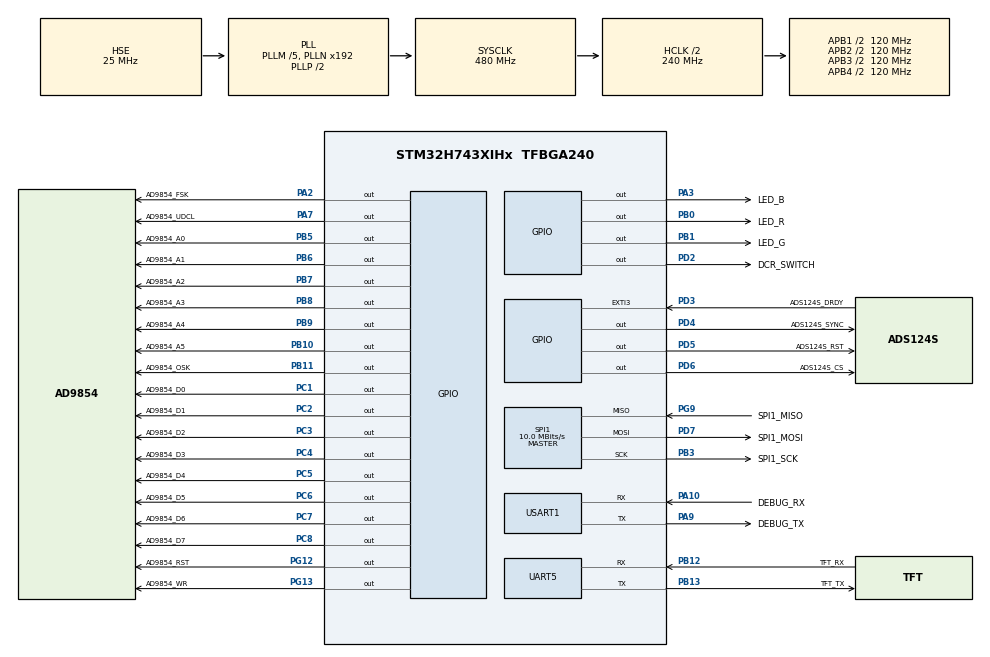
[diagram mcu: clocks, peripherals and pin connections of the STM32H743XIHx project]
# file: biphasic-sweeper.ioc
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Mcu.Family=STM32H7
Mcu.Name=STM32H743XIHx
Mcu.Package=TFBGA240
NVIC.EXTI3_IRQn=true\:0\:0\:false\:false\:true\:true\:true
NVIC.PriorityGroup=NVIC_PRIORITYGROUP_4
NVIC.UART5_IRQn=true\:0\:0\:false\:false\:true\:true\:true
NVIC.USART1_IRQn=true\:3\:0\:true\:false\:true\:true\:true
PA10.GPIO_Label=DEBUG_RX
PA10.Mode=Asynchronous
PA10.Signal=USART1_RX
PA2.GPIO_Label=AD9854_FSK
PA2.GPIO_Speed=GPIO_SPEED_FREQ_LOW
PA2.Signal=GPIO_Output
PA3.GPIO_Label=LED_B
PA3.GPIO_ModeDefaultOutputPP=GPIO_MODE_OUTPUT_OD
PA3.GPIO_PuPd=GPIO_PULLUP
PA3.PinState=GPIO_PIN_SET
PA3.Signal=GPIO_Output
PA7.GPIO_Label=AD9854_UDCL
PA7.GPIO_PuPd=GPIO_PULLDOWN
PA7.GPIO_Speed=GPIO_SPEED_FREQ_LOW
PA7.Signal=GPIO_Output
PA9.GPIO_Label=DEBUG_TX
PA9.Mode=Asynchronous
PA9.Signal=USART1_TX
PB0.GPIO_Label=LED_R
PB0.GPIO_ModeDefaultOutputPP=GPIO_MODE_OUTPUT_OD
PB0.GPIO_PuPd=GPIO_PULLUP
PB0.PinState=GPIO_PIN_SET
PB0.Signal=GPIO_Output
PB1.GPIO_Label=LED_G
PB1.GPIO_ModeDefaultOutputPP=GPIO_MODE_OUTPUT_OD
PB1.GPIO_PuPd=GPIO_PULLUP
PB1.PinState=GPIO_PIN_SET
PB1.Signal=GPIO_Output
PB10.GPIO_Label=AD9854_A5
PB10.GPIO_Speed=GPIO_SPEED_FREQ_LOW
PB10.Signal=GPIO_Output
PB11.GPIO_Label=AD9854_OSK
PB11.GPIO_Speed=GPIO_SPEED_FREQ_LOW
PB11.Signal=GPIO_Output
PB12.GPIO_Label=TFT_RX
PB12.Mode=Asynchronous
PB12.Signal=UART5_RX
PB13.GPIO_Label=TFT_TX
PB13.Mode=Asynchronous
PB13.Signal=UART5_TX
PB3\ (JTDO/TRACESWO).GPIO_Label=SPI1_SCK
PB3\ (JTDO/TRACESWO).GPIO_Speed=GPIO_SPEED_FREQ_HIGH
PB3\ (JTDO/TRACESWO).Mode=Full_Duplex_Master
PB3\ (JTDO/TRACESWO).Signal=SPI1_SCK
PB5.GPIO_Label=AD9854_A0
PB5.GPIO_Speed=GPIO_SPEED_FREQ_LOW
PB5.Signal=GPIO_Output
PB6.GPIO_Label=AD9854_A1
PB6.GPIO_Speed=GPIO_SPEED_FREQ_LOW
PB6.Signal=GPIO_Output
PB7.GPIO_Label=AD9854_A2
PB7.GPIO_Speed=GPIO_SPEED_FREQ_LOW
PB7.Signal=GPIO_Output
PB8.GPIO_Label=AD9854_A3
PB8.GPIO_Speed=GPIO_SPEED_FREQ_LOW
PB8.Signal=GPIO_Output
PB9.GPIO_Label=AD9854_A4
PB9.GPIO_Speed=GPIO_SPEED_FREQ_LOW
PB9.Signal=GPIO_Output
PC1.GPIO_Label=AD9854_D0
PC1.GPIO_Speed=GPIO_SPEED_FREQ_LOW
PC1.Signal=GPIO_Output
PC2.GPIO_Label=AD9854_D1
PC2.GPIO_Speed=GPIO_SPEED_FREQ_LOW
PC2.Signal=GPIO_Output
PC3.GPIO_Label=AD9854_D2
PC3.GPIO_Speed=GPIO_SPEED_FREQ_LOW
PC3.Signal=GPIO_Output
PC4.GPIO_Label=AD9854_D3
PC4.GPIO_Speed=GPIO_SPEED_FREQ_LOW
PC4.Signal=GPIO_Output
PC5.GPIO_Label=AD9854_D4
PC5.GPIO_Speed=GPIO_SPEED_FREQ_LOW
PC5.Signal=GPIO_Output
PC6.GPIO_Label=AD9854_D5
PC6.GPIO_Speed=GPIO_SPEED_FREQ_LOW
PC6.Signal=GPIO_Output
PC7.GPIO_Label=AD9854_D6
PC7.GPIO_Speed=GPIO_SPEED_FREQ_LOW
PC7.Signal=GPIO_Output
PC8.GPIO_Label=AD9854_D7
PC8.GPIO_Speed=GPIO_SPEED_FREQ_LOW
PC8.Signal=GPIO_Output
PD2.GPIO_Label=DCR_SWITCH
PD2.GPIO_PuPd=GPIO_PULLDOWN
PD2.Signal=GPIO_Output
PD3.GPIO_Label=ADS124S_DRDY
PD3.GPIO_ModeDefaultEXTI=GPIO_MODE_IT_FALLING
PD3.GPIO_PuPd=GPIO_PULLUP
PD3.Signal=GPXTI3
PD4.GPIO_Label=ADS124S_SYNC
PD4.GPIO_PuPd=GPIO_PULLDOWN
PD4.GPIO_Speed=GPIO_SPEED_FREQ_HIGH
PD4.PinState=GPIO_PIN_RESET
PD4.Signal=GPIO_Output
PD5.GPIO_Label=ADS124S_RST
PD5.GPIO_PuPd=GPIO_PULLUP
PD5.GPIO_Speed=GPIO_SPEED_FREQ_HIGH
PD5.PinState=GPIO_PIN_SET
PD5.Signal=GPIO_Output
PD6.GPIO_Label=ADS124S_CS
PD6.GPIO_PuPd=GPIO_PULLUP
PD6.GPIO_Speed=GPIO_SPEED_FREQ_HIGH
PD6.PinState=GPIO_PIN_SET
PD6.Signal=GPIO_Output
PD7.GPIO_Label=SPI1_MOSI
PD7.GPIO_Speed=GPIO_SPEED_FREQ_HIGH
PD7.Mode=Full_Duplex_Master
PD7.PinAttribute=Free
PD7.Signal=SPI1_MOSI
PG12.GPIO_Label=AD9854_RST
PG12.GPIO_PuPd=GPIO_PULLDOWN
PG12.Signal=GPIO_Output
PG13.GPIO_Label=AD9854_WR
PG13.GPIO_PuPd=GPIO_PULLUP
PG13.GPIO_Speed=GPIO_SPEED_FREQ_LOW
PG13.PinState=GPIO_PIN_SET
PG13.Signal=GPIO_Output
PG9.GPIO_Label=SPI1_MISO
PG9.GPIO_Speed=GPIO_SPEED_FREQ_HIGH
PG9.Mode=Full_Duplex_Master
PG9.Signal=SPI1_MISO
PH0-OSC_IN\ (PH0).Mode=HSE-External-Oscillator
PH0-OSC_IN\ (PH0).Signal=RCC_OSC_IN
PH1-OSC_OUT\ (PH1).Mode=HSE-External-Oscillator
PH1-OSC_OUT\ (PH1).Signal=RCC_OSC_OUT
ProjectManager.HeapSize=0x200
ProjectManager.StackSize=0x400
ProjectManager.TargetToolchain=Makefile
RCC.ADCFreq_Value=20000000
RCC.APB1Freq_Value=120000000
RCC.APB2Freq_Value=120000000
RCC.APB3Freq_Value=120000000
RCC.APB4Freq_Value=120000000
RCC.CortexFreq_Value=480000000
RCC.D1PPRE=RCC_APB3_DIV2
RCC.D2PPRE1=RCC_APB1_DIV2
RCC.D2PPRE2=RCC_APB2_DIV2
RCC.D3PPRE=RCC_APB4_DIV2
RCC.DIVM1=5
RCC.DIVM2=25
RCC.DIVM3=25
RCC.DIVN1=192
RCC.DIVN2=240
RCC.DIVN3=340
RCC.DIVP2=12
RCC.DIVR2=1
RCC.DIVR3=10
RCC.FMCCLockSelection=RCC_FMCCLKSOURCE_PLL2
RCC.HCLKFreq_Value=240000000
RCC.HPRE=RCC_HCLK_DIV2
RCC.HSE_VALUE=25000000
RCC.PLLFRACN=0
RCC.PLLSourceVirtual=RCC_PLLSOURCE_HSE
RCC.SPI123CLockSelection=RCC_SPI123CLKSOURCE_PLL2
RCC.SYSCLKFreq_VALUE=480000000
RCC.SYSCLKSource=RCC_SYSCLKSOURCE_PLLCLK
RCC.USBFreq_Value=480000000
SPI1.BaudRatePrescaler=SPI_BAUDRATEPRESCALER_2
SPI1.CLKPhase=SPI_PHASE_2EDGE
SPI1.CLKPolarity=SPI_POLARITY_LOW
SPI1.CalculateBaudRate=10.0 MBits/s
SPI1.DataSize=SPI_DATASIZE_8BIT
SPI1.Direction=SPI_DIRECTION_2LINES
SPI1.Mode=SPI_MODE_MASTER
SPI1.NSS-Full_Duplex_Master=SPI_NSS_HARD_OUTPUT
SPI1.NSSPMode=SPI_NSS_PULSE_ENABLE
SPI1.VirtualType=VM_MASTER
TIM6.Period=65535
TIM6.Prescaler=240-1
USART1.VirtualMode-Asynchronous=VM_ASYNC
VP_TIM6_VS_ClockSourceINT.Mode=Enable_Timer
board=custom

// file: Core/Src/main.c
/* USER CODE BEGIN Header */
/**
  ******************************************************************************
  * @file           : main.c
  * @brief          : Main program body
  ******************************************************************************
  * @attention
  *
  * <h2><center>&copy; Copyright (c) 2021 STMicroelectronics.
  * All rights reserved.</center></h2>
  *
  * This software component is licensed by ST under BSD 3-Clause license,
  * the "License"; You may not use this file except in compliance with the
  * License. You may obtain a copy of the License at:
  *                        opensource.org/licenses/BSD-3-Clause
  *
  ******************************************************************************
  */
/* USER CODE END Header */
#include "main.h"
#include "spi.h"
#include "tim.h"
#include "usart.h"
#include "gpio.h"

/* USER CODE BEGIN Includes */
#include "led.h"
#include "tty.h"
#include "tft.h"
#include "delay.h"
#include "ad9854.h"
#include "ads124s0x.h"
#include "measure.h"
/* USER CODE END Includes */

void SystemClock_Config(void);

int main(void)
{

  /* MCU Configuration--------------------------------------------------------*/

  /* Reset of all peripherals, Initializes the Flash interface and the Systick. */
  HAL_Init();

  /* Configure the system clock */
  SystemClock_Config();

  /* Initialize all configured peripherals */
  MX_GPIO_Init();
  MX_USART1_UART_Init();
  MX_SPI1_Init();
  MX_TIM6_Init();
  MX_UART5_Init();
  /* USER CODE BEGIN 2 */

  delay_init();
  tft_init();
  delay_ms(200);
  ad9854_init();
  ads124s_init();

  LED_SetColor(LED_G);

  measure_init();
  measure_task_start(TASK_AC_ESR_C);

  /* USER CODE END 2 */

  /* Infinite loop */
  /* USER CODE BEGIN WHILE */
  while (1)
  {
    tft_cmd_poll();
    measure_task_poll();

    /* USER CODE END WHILE */

  }
}

void SystemClock_Config(void)
{
  RCC_OscInitTypeDef RCC_OscInitStruct = {0};
  RCC_ClkInitTypeDef RCC_ClkInitStruct = {0};

  /** Supply configuration update enable
  */
  HAL_PWREx_ConfigSupply(PWR_LDO_SUPPLY);
  /** Configure the main internal regulator output voltage
  */
  __HAL_PWR_VOLTAGESCALING_CONFIG(PWR_REGULATOR_VOLTAGE_SCALE0);

  while(!__HAL_PWR_GET_FLAG(PWR_FLAG_VOSRDY)) {}
  /** Macro to configure the PLL clock source
  */
  __HAL_RCC_PLL_PLLSOURCE_CONFIG(RCC_PLLSOURCE_HSE);
  /** Initializes the RCC Oscillators according to the specified parameters
  * in the RCC_OscInitTypeDef structure.
  */
  RCC_OscInitStruct.OscillatorType = RCC_OSCILLATORTYPE_HSE;
  RCC_OscInitStruct.HSEState = RCC_HSE_ON;
  RCC_OscInitStruct.PLL.PLLState = RCC_PLL_ON;
  RCC_OscInitStruct.PLL.PLLSource = RCC_PLLSOURCE_HSE;
  RCC_OscInitStruct.PLL.PLLM = 5;
  RCC_OscInitStruct.PLL.PLLN = 192;
  RCC_OscInitStruct.PLL.PLLP = 2;
  RCC_OscInitStruct.PLL.PLLQ = 2;
  RCC_OscInitStruct.PLL.PLLR = 2;
  RCC_OscInitStruct.PLL.PLLRGE = RCC_PLL1VCIRANGE_2;
  RCC_OscInitStruct.PLL.PLLVCOSEL = RCC_PLL1VCOWIDE;
  RCC_OscInitStruct.PLL.PLLFRACN = 0;
  if (HAL_RCC_OscConfig(&RCC_OscInitStruct) != HAL_OK)
  {
    Error_Handler();
  }
  /** Initializes the CPU, AHB and APB buses clocks
  */
  RCC_ClkInitStruct.ClockType = RCC_CLOCKTYPE_HCLK|RCC_CLOCKTYPE_SYSCLK
                              |RCC_CLOCKTYPE_PCLK1|RCC_CLOCKTYPE_PCLK2
                              |RCC_CLOCKTYPE_D3PCLK1|RCC_CLOCKTYPE_D1PCLK1;
  RCC_ClkInitStruct.SYSCLKSource = RCC_SYSCLKSOURCE_PLLCLK;
  RCC_ClkInitStruct.SYSCLKDivider = RCC_SYSCLK_DIV1;
  RCC_ClkInitStruct.AHBCLKDivider = RCC_HCLK_DIV2;
  RCC_ClkInitStruct.APB3CLKDivider = RCC_APB3_DIV2;
  RCC_ClkInitStruct.APB1CLKDivider = RCC_APB1_DIV2;
  RCC_ClkInitStruct.APB2CLKDivider = RCC_APB2_DIV2;
  RCC_ClkInitStruct.APB4CLKDivider = RCC_APB4_DIV2;

  if (HAL_RCC_ClockConfig(&RCC_ClkInitStruct, FLASH_LATENCY_4) != HAL_OK)
  {
    Error_Handler();
  }
}

void Error_Handler(void)
{
  /* USER CODE BEGIN Error_Handler_Debug */
  /* User can add his own implementation to report the HAL error return state */
  __disable_irq();
  LED_SetColor(LED_R);
  while (1)
  {
  }
  /* USER CODE END Error_Handler_Debug */
}

/************************ (C) COPYRIGHT STMicroelectronics *****END OF FILE****/
